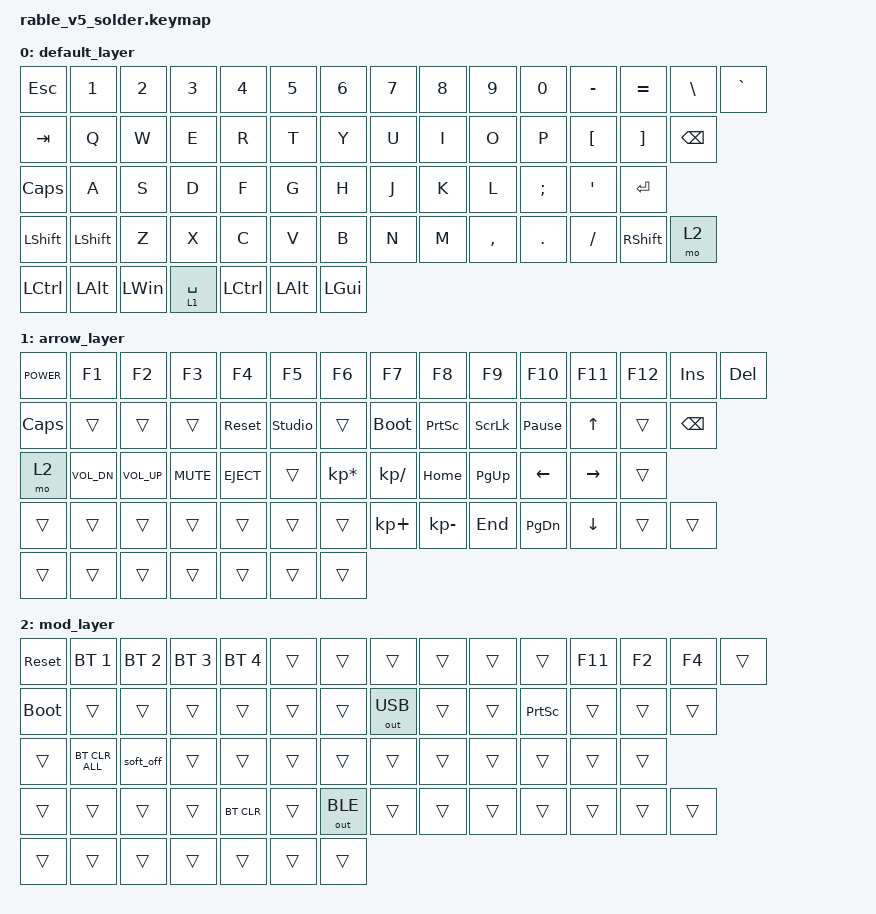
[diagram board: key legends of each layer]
/*
 * Copyright (c) 2021 Nick Winans
 *
 * SPDX-License-Identifier: MIT
 */

#include <behaviors.dtsi>
#include <dt-bindings/zmk/keys.h>
#include <dt-bindings/zmk/rgb.h>
#include <dt-bindings/zmk/bt.h>
#include <dt-bindings/zmk/outputs.h>
#include <dt-bindings/zmk/ext_power.h>

/ {
  keymap {
    compatible = "zmk,keymap";
    
    default_layer {
            bindings = <
                &kp ESC    &kp N1    &kp N2    &kp N3    &kp N4    &kp N5    &kp N6    &kp N7    &kp N8    &kp N9    &kp N0    &kp MINUS   &kp EQUAL   &kp BSLH    &kp GRAVE  
                &kp TAB    &kp Q     &kp W     &kp E     &kp R     &kp T     &kp Y     &kp U     &kp I     &kp O     &kp P     &kp LBKT    &kp RBKT    &kp BSPC   
                &kp CLCK   &kp A     &kp S     &kp D     &kp F     &kp G     &kp H     &kp J     &kp K     &kp L     &kp SEMI   &kp SQT     &kp RET    
                &kp LSHFT  &kp LSHFT &kp Z     &kp X     &kp C     &kp V     &kp B     &kp N     &kp M     &kp COMMA  &kp DOT    &kp FSLH    &kp RSHFT  &mo 2   
                &kp LCTRL  &kp LALT  &kp LWIN  &lt 1 SPACE  &kp LCTRL  &kp LALT  &kp LGUI
            >;
        };

        arrow_layer {
            bindings = <
                &kp K_POWER &kp F1    &kp F2    &kp F3    &kp F4    &kp F5    &kp F6    &kp F7    &kp F8    &kp F9    &kp F10   &kp F11    &kp F12   &kp INS    &kp DEL   
                &kp CAPS    &trans    &trans    &trans    &sys_reset &studio_unlock &trans &bootloader &kp PSCRN  &kp SLCK  &kp PAUSE_BREAK &kp UP   &trans   &kp BSPC  
                &mo 2       &kp C_VOL_DN &kp C_VOL_UP &kp C_MUTE &kp C_EJECT &trans  &kp KP_MULTIPLY &kp KP_DIVIDE &kp HOME  &kp PG_UP  &kp LEFT  &kp RIGHT  &trans  
                &trans      &trans    &trans    &trans    &trans    &trans    &trans   &kp KP_PLUS  &kp KP_MINUS &kp END   &kp PG_DN  &kp DOWN  &trans    &trans  
                &trans      &trans    &trans    &trans    &trans    &trans    &trans
            >;
        };

        mod_layer {
            bindings = <
                &sys_reset  &bt BT_SEL 1  &bt BT_SEL 2  &bt BT_SEL 3  &bt BT_SEL 4  &trans    &trans    &trans    &trans    &trans    &trans    &kp F11    &kp F2     &kp F4     &trans  
                &bootloader &trans    &trans    &trans    &trans    &trans    &trans    &out OUT_USB  &trans    &trans    &kp PRINTSCREEN &trans    &trans    &trans   
                &trans      &bt BT_CLR_ALL  &soft_off  &trans    &trans    &trans    &trans    &trans    &trans    &trans    &trans    &trans    &trans   
                &trans      &trans    &trans    &trans    &bt BT_CLR  &trans    &out OUT_BLE  &trans    &trans    &trans    &trans    &trans    &trans    &trans   
                &trans      &trans    &trans    &trans    &trans    &trans    &trans
            >;
        };

        extra1 {
            status = "reserved";
        };

        extra2 {
            status = "reserved";
        };

        extra3 {
            status = "reserved";
        };
    
  };
};
